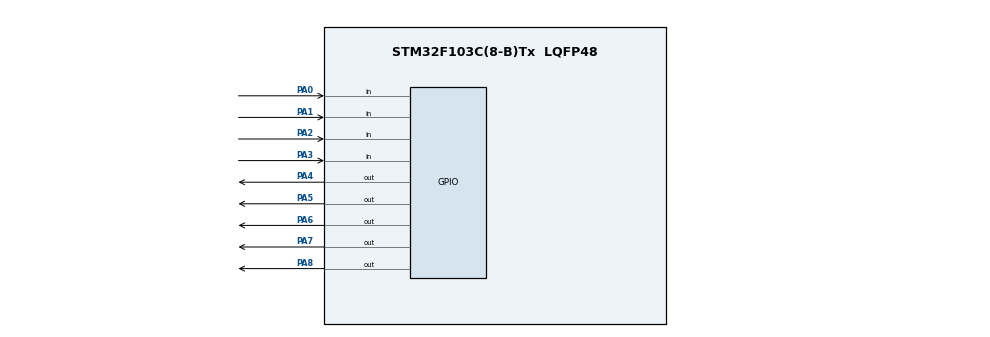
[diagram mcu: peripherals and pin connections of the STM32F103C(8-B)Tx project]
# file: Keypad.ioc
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Mcu.Family=STM32F1
Mcu.Name=STM32F103C(8-B)Tx
Mcu.Package=LQFP48
NVIC.PriorityGroup=NVIC_PRIORITYGROUP_4
PA0-WKUP.GPIO_PuPd=GPIO_PULLDOWN
PA0-WKUP.Signal=GPIO_Input
PA1.GPIO_PuPd=GPIO_PULLDOWN
PA1.Signal=GPIO_Input
PA13.Mode=Serial_Wire
PA13.Signal=SYS_JTMS-SWDIO
PA14.Mode=Serial_Wire
PA14.Signal=SYS_JTCK-SWCLK
PA2.GPIO_PuPd=GPIO_PULLDOWN
PA2.Signal=GPIO_Input
PA3.GPIO_PuPd=GPIO_PULLDOWN
PA3.Signal=GPIO_Input
PA4.GPIO_Speed=GPIO_SPEED_FREQ_MEDIUM
PA4.Signal=GPIO_Output
PA5.GPIO_Speed=GPIO_SPEED_FREQ_MEDIUM
PA5.Signal=GPIO_Output
PA6.GPIO_Speed=GPIO_SPEED_FREQ_MEDIUM
PA6.Signal=GPIO_Output
PA7.GPIO_Speed=GPIO_SPEED_FREQ_MEDIUM
PA7.Signal=GPIO_Output
PA8.Signal=GPIO_Output
PD0-OSC_IN.Mode=HSE-External-Oscillator
PD0-OSC_IN.Signal=RCC_OSC_IN
PD1-OSC_OUT.Mode=HSE-External-Oscillator
PD1-OSC_OUT.Signal=RCC_OSC_OUT
ProjectManager.HeapSize=0x200
ProjectManager.StackSize=0x400
ProjectManager.TargetToolchain=STM32CubeIDE
RCC.APB1Freq_Value=8000000
RCC.APB2Freq_Value=8000000
board=custom

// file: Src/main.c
/* USER CODE BEGIN Header */
/**
  ******************************************************************************
  * @file           : main.c
  * @brief          : Main program body
  ******************************************************************************
  * @attention
  *
  * Copyright (c) 2022 STMicroelectronics.
  * All rights reserved.
  *
  * This software is licensed under terms that can be found in the LICENSE file
  * in the root directory of this software component.
  * If no LICENSE file comes with this software, it is provided AS-IS.
  *
  ******************************************************************************
  */
/* USER CODE END Header */
#include "main.h"

/* USER CODE BEGIN Includes */
#include "../External Drivers/KEYPAD/KEYPAD.h"
/* USER CODE END Includes */

/* USER CODE BEGIN PV */
uint8_t KeyStatesArr[KEYS] = {0};
uint8_t SysTicks = 0;
#define KEY_1 0
const KEYPAD_CfgType KEYPAD_CfgParam_ext =

	// KeyPAD Unit 1 Configurations
    {
    	/* ROWs Pins Info */
	    {GPIOA, GPIOA, GPIOA, GPIOA},
		{GPIO_PIN_0, GPIO_PIN_1, GPIO_PIN_2, GPIO_PIN_3},
		/* COLs Pins */
		{GPIOA, GPIOA, GPIOA, GPIOA},
		{GPIO_PIN_4, GPIO_PIN_5, GPIO_PIN_6, GPIO_PIN_7}
	};
/* USER CODE END PV */

void SystemClock_Config(void);
static void MX_GPIO_Init(void);
/* USER CODE BEGIN PFP */
void SysTick_CallBack(void);
/* USER CODE END PFP */

int main(void)
{

  /* MCU Configuration--------------------------------------------------------*/

  /* Reset of all peripherals, Initializes the Flash interface and the Systick. */
  HAL_Init();

  /* Configure the system clock */
  SystemClock_Config();

  /* Initialize all configured peripherals */
  MX_GPIO_Init();
  /* USER CODE BEGIN 2 */
  KEYPAD_Init(KeyStatesArr, KEYPAD_CfgParam_ext );
  /* USER CODE END 2 */

  /* Infinite loop */
  /* USER CODE BEGIN WHILE */
  while (1)
  {
	  if(KeyStatesArr[KEY_1] == KEY_PRESSED)
	  {
	             HAL_GPIO_WritePin(GPIOA, GPIO_PIN_8, 1);
	         }
	  else
	         {
	        	 HAL_GPIO_WritePin(GPIOA, GPIO_PIN_8, 0);
	         }
    /* USER CODE END WHILE */

  }
}

void SystemClock_Config(void)
{
  RCC_OscInitTypeDef RCC_OscInitStruct = {0};
  RCC_ClkInitTypeDef RCC_ClkInitStruct = {0};

  /** Initializes the RCC Oscillators according to the specified parameters
  * in the RCC_OscInitTypeDef structure.
  */
  RCC_OscInitStruct.OscillatorType = RCC_OSCILLATORTYPE_HSI;
  RCC_OscInitStruct.HSIState = RCC_HSI_ON;
  RCC_OscInitStruct.HSICalibrationValue = RCC_HSICALIBRATION_DEFAULT;
  RCC_OscInitStruct.PLL.PLLState = RCC_PLL_NONE;
  if (HAL_RCC_OscConfig(&RCC_OscInitStruct) != HAL_OK)
  {
    Error_Handler();
  }
  /** Initializes the CPU, AHB and APB buses clocks
  */
  RCC_ClkInitStruct.ClockType = RCC_CLOCKTYPE_HCLK|RCC_CLOCKTYPE_SYSCLK
                              |RCC_CLOCKTYPE_PCLK1|RCC_CLOCKTYPE_PCLK2;
  RCC_ClkInitStruct.SYSCLKSource = RCC_SYSCLKSOURCE_HSI;
  RCC_ClkInitStruct.AHBCLKDivider = RCC_SYSCLK_DIV1;
  RCC_ClkInitStruct.APB1CLKDivider = RCC_HCLK_DIV1;
  RCC_ClkInitStruct.APB2CLKDivider = RCC_HCLK_DIV1;

  if (HAL_RCC_ClockConfig(&RCC_ClkInitStruct, FLASH_LATENCY_0) != HAL_OK)
  {
    Error_Handler();
  }
}

static void MX_GPIO_Init(void)
{
  GPIO_InitTypeDef GPIO_InitStruct = {0};

  /* GPIO Ports Clock Enable */
  __HAL_RCC_GPIOD_CLK_ENABLE();
  __HAL_RCC_GPIOA_CLK_ENABLE();

  /*Configure GPIO pin Output Level */
  HAL_GPIO_WritePin(GPIOA, GPIO_PIN_4|GPIO_PIN_5|GPIO_PIN_6|GPIO_PIN_7
                          |GPIO_PIN_8, GPIO_PIN_RESET);

  /*Configure GPIO pins : PA0 PA1 PA2 PA3 */
  GPIO_InitStruct.Pin = GPIO_PIN_0|GPIO_PIN_1|GPIO_PIN_2|GPIO_PIN_3;
  GPIO_InitStruct.Mode = GPIO_MODE_INPUT;
  GPIO_InitStruct.Pull = GPIO_PULLDOWN;
  HAL_GPIO_Init(GPIOA, &GPIO_InitStruct);

  /*Configure GPIO pins : PA4 PA5 PA6 PA7 */
  GPIO_InitStruct.Pin = GPIO_PIN_4|GPIO_PIN_5|GPIO_PIN_6|GPIO_PIN_7;
  GPIO_InitStruct.Mode = GPIO_MODE_OUTPUT_PP;
  GPIO_InitStruct.Pull = GPIO_NOPULL;
  GPIO_InitStruct.Speed = GPIO_SPEED_FREQ_MEDIUM;
  HAL_GPIO_Init(GPIOA, &GPIO_InitStruct);

  /*Configure GPIO pin : PA8 */
  GPIO_InitStruct.Pin = GPIO_PIN_8;
  GPIO_InitStruct.Mode = GPIO_MODE_OUTPUT_PP;
  GPIO_InitStruct.Pull = GPIO_NOPULL;
  GPIO_InitStruct.Speed = GPIO_SPEED_FREQ_LOW;
  HAL_GPIO_Init(GPIOA, &GPIO_InitStruct);

}

/* USER CODE BEGIN 4 */
void SysTick_CallBack(void)
{
    SysTicks++;

    if(SysTicks == 5) // Each 5msec
    {
    KEYPAD_Scan();
    SysTicks = 0;

    }
}
/* USER CODE END 4 */

void Error_Handler(void)
{
  __disable_irq();
  while (1)
  {
  }
}
